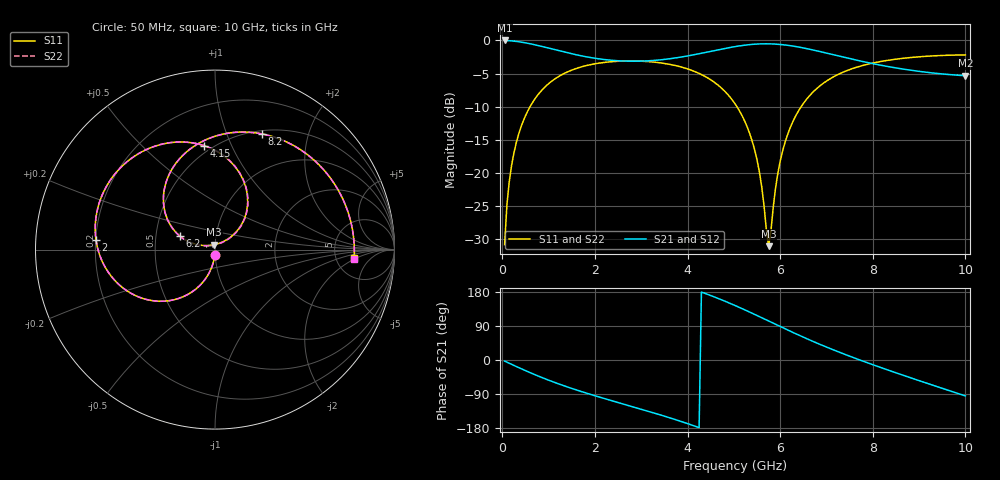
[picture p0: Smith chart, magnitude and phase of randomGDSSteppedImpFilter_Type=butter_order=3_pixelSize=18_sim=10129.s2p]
! freq	dB(S11)	phase(S11)	dB(S12)	phase(S12)
!  dB(S21)	phase(S21)	dB(S22)	phase(S22)
!S-par simulation data
#  GHz  S  DB  R 50
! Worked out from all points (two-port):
!   200 points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, 50 MHz to 10 GHz, reference 50 ohm
!   highest |S21| = -0.01 dB at 50 MHz (marker M1); lowest = -5.3 dB at 10 GHz (marker M2)
!   |S21| within 3 dB of the highest: start of sweep to 2.371 GHz; 3.307 GHz to 7.663 GHz (4.356 GHz wide, 79.4 % of centre)
!   lowest |S11| = -31.1 dB at 5.75 GHz (marker M3), VSWR 1.06, Z = 49.5 + j2.73 ohm
!   |S11| at or under -10 dB: start of sweep to 600.1 MHz; 5.066 GHz to 6.455 GHz (1.389 GHz wide, 24.1 % of centre)
!   |S22| runs from -31.6 to -2.2 dB; largest |S21 - S12| = 0
!   S11 on the Smith chart (normalised r, x): 50 MHz: 1.00, -0.06; 2 GHz: 0.20, +0.04; 4.15 GHz: 0.45, +0.79; 6.2 GHz: 0.66, +0.11; 8.2 GHz: 0.54, +1.34; 10 GHz: 7.54, -1.77
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0.05  -30.85 -93.0  -0.01 -2.9  -0.01 -2.9  -30.85 -93.0
0.1  -24.85 -96.0  -0.02 -5.8  -0.02 -5.8  -24.85 -96.0
0.2  -18.92 -101.9  -0.07 -11.5  -0.07 -11.5  -18.92 -101.9
0.5  -11.39 -118.6  -0.37 -28.1  -0.37 -28.1  -11.39 -118.6
1.05  -6.25 -146.1  -1.25 -55.5  -1.25 -55.5  -6.25 -146.1
1.75  -3.92 -175.4  -2.39 -84.9  -2.39 -84.9  -3.92 -175.5
2  -3.53 175.2  -2.69 -94.3  -2.69 -94.3  -3.53 175.1
2.65  -3.11 152.0  -3.12 -117.5  -3.12 -117.5  -3.11 151.9
3.4  -3.38 125.4  -2.95 -144.4  -2.95 -144.4  -3.38 125.2
4.15  -4.68 96.3  -2.15 -174.1  -2.15 -174.1  -4.68 96.1
5.05  -9.83 55.7  -0.90 142.5  -0.90 142.5  -9.83 55.3
5.5  -18.02 38.8  -0.55 117.5  -0.55 117.5  -18.05 38.0
5.6  -22.01 40.8  -0.52 111.7  -0.52 111.7  -22.07 39.5
5.75  -31.08 98.9  -0.51 103.0  -0.51 103.0  -31.64 98.5
5.95  -20.09 164.1  -0.58 91.4  -0.58 91.4  -20.13 164.9
6.2  -13.49 158.7  -0.77 77.0  -0.77 77.0  -13.50 159.0
6.7  -7.87 135.4  -1.43 49.6  -1.43 49.6  -7.87 135.4
7.35  -4.82 104.7  -2.50 17.1  -2.50 17.1  -4.82 104.6
8.2  -3.15 67.9  -3.78 -21.0  -3.78 -21.0  -3.15 67.7
8.35  -2.98 61.7  -3.97 -27.4  -3.97 -27.4  -2.98 61.5
9.25  -2.35 25.7  -4.88 -64.7  -4.88 -64.7  -2.36 25.4
10  -2.19 -3.4  -5.33 -94.8  -5.33 -94.8  -2.19 -3.7
